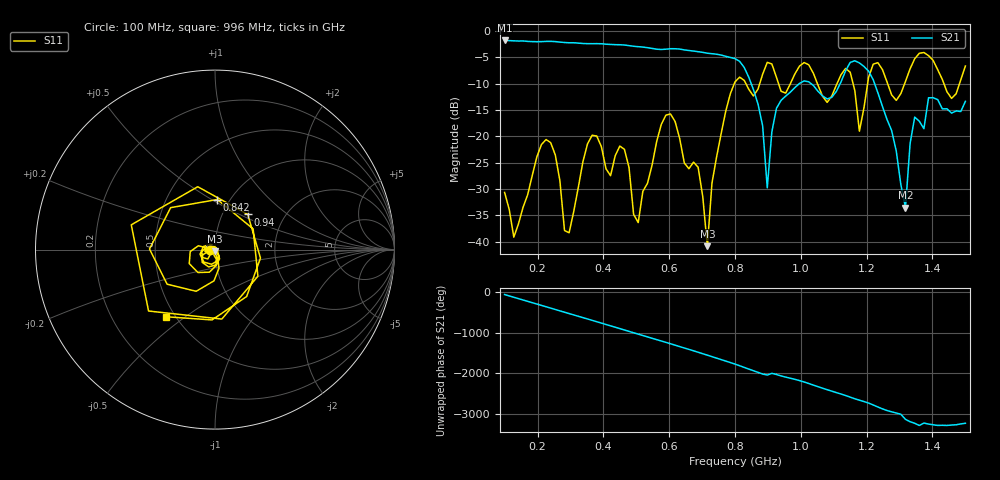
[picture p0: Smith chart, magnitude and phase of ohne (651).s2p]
! NanoVNA-App
! Date: 2025-09-25 14:25:52
! Start: 100MHz Stop: 1,5GHz Points: 101
! S-Parameter data: F S11 S21 S12 S22
# Hz S RI R 50
!  Frequency  S11_Real  S11_Imag  S21_Real  S21_Imag  S12_Real  S12_Imag  S22_Real  S22_Imag
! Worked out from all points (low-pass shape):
!   101 points, 100 MHz to 1.5 GHz, reference 50 ohm
!   highest |S21| = -1.79 dB at 100 MHz (marker M1); lowest = -33.5 dB at 1.318 GHz (marker M2)
!   |S21| within 3 dB of the highest: start of sweep to 771.6 MHz
!   lowest |S11| = -40.8 dB at 716 MHz (marker M3), VSWR 1.02, Z = 49.7 - j0.865 ohm
!   |S11| at or under -10 dB: start of sweep to 797.8 MHz; 833.2 MHz to 875 MHz (41.86 MHz wide, 4.9 % of centre); 1.051 GHz to 1.11 GHz (59.4 MHz wide, 5.5 % of centre) (the widest 3 of 7)
!   S12 and S22 are empty: the file has one direction only
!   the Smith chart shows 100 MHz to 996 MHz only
!   S11 on the Smith chart (normalised r, x): 100 MHz: 0.94, -0.01; 842 MHz: 0.88, +0.53; 940 MHz: 1.31, +0.56; 996 MHz: 0.44, -0.42
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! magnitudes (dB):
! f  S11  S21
! 100 MHz  -30.6  -1.8
! 128 MHz  -39.1  -1.9
! 226 MHz  -20.6  -2.0
! 296 MHz  -38.3  -2.2
! 338 MHz  -24.8  -2.4
! 464 MHz  -22.5  -2.7
! 506 MHz  -36.4  -3.0
! 576 MHz  -17.7  -3.5
! 688 MHz  -25.9  -3.9
! 716 MHz  -40.8  -4.2
! 800 MHz  -9.7  -5.2
! 842 MHz  -11.1  -8.8
! 898 MHz  -5.9  -29.8
! 940 MHz  -11.4  -13.2
! 996 MHz  -6.7  -9.9
! 1.038 GHz  -8.0  -10.3
! 1.178 GHz  -19.0  -6.1
! 1.22 GHz  -6.3  -9.3
! 1.276 GHz  -12.1  -18.9
! 1.318 GHz  -9.6  -33.5
! 1.346 GHz  -5.3  -16.3
! 1.5 GHz  -6.6  -13.4
